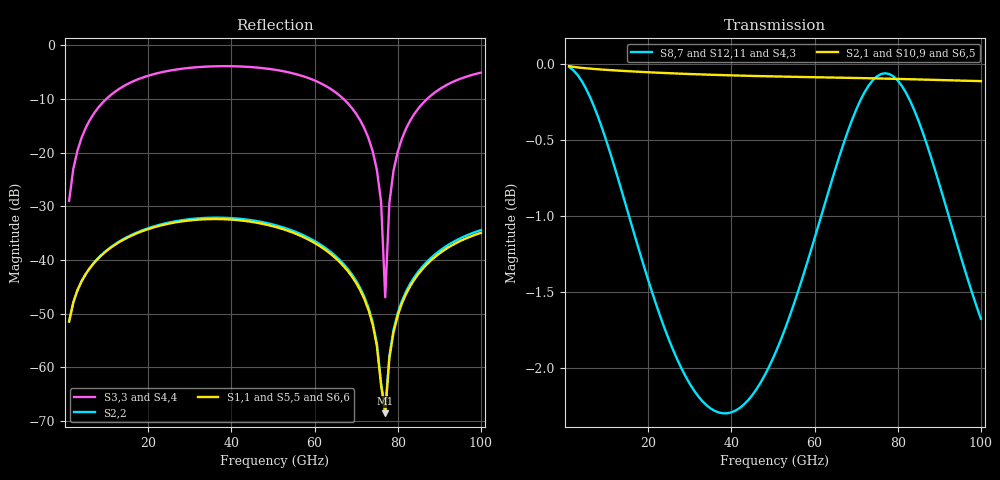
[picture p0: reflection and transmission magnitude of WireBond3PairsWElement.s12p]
! File created by SignalIntegrity v1.1.14: Signal and Power Integrity Tools
! https://github.com/TeledyneLeCroy/SignalIntegrity
# MHz S MA R 50.0
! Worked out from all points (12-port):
!   100 points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, 1 GHz to 100 GHz, reference 50 ohm
!   strongest paths, dB at 1 GHz, 26 GHz, 51 GHz, 76 GHz, 100 GHz:
!     S2,1: 0.0, -0.1, -0.1, -0.1, -0.1
!     S10,9: 0.0, -0.1, -0.1, -0.1, -0.1
!     S6,5: 0.0, -0.1, -0.1, -0.1, -0.1
!     S8,7: 0.0, -1.9, -1.9, -0.1, -1.7
!     S12,11: 0.0, -1.9, -1.9, -0.1, -1.7
!     S4,3: 0.0, -1.9, -1.9, -0.1, -1.7
!   lowest |S11| = -68.6 dB at 77 GHz (marker M1), VSWR 1.00, Z = 50 + j0.0281 ohm
!   |S11| at or under -10 dB: start of sweep to end of sweep
